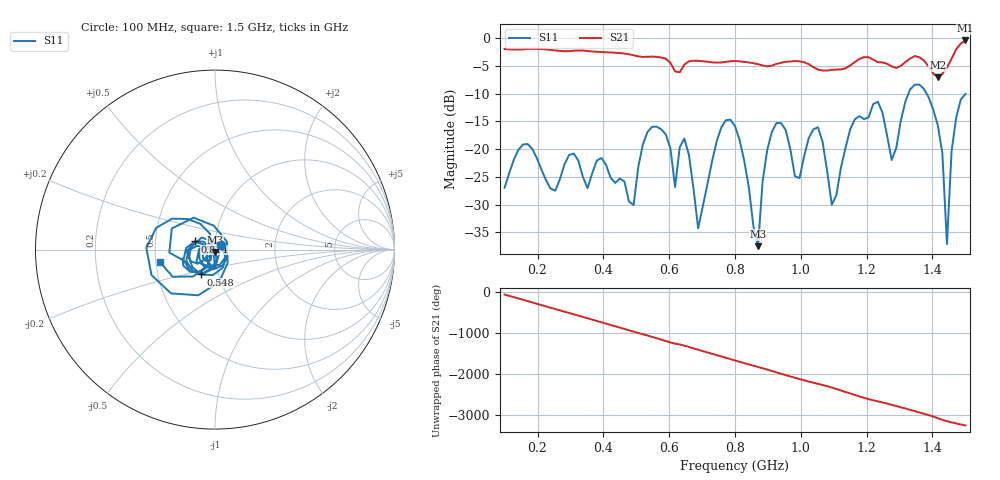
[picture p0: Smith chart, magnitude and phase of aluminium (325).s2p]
! NanoVNA-App
! Date: 2025-09-25 14:57:48
! Start: 100MHz Stop: 1,5GHz Points: 101
! S-Parameter data: F S11 S21 S12 S22
# Hz S RI R 50
!  Frequency  S11_Real  S11_Imag  S21_Real  S21_Imag  S12_Real  S12_Imag  S22_Real  S22_Imag
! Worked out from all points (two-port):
!   101 points, 100 MHz to 1.5 GHz, reference 50 ohm
!   highest |S21| = -0.38 dB at 1.5 GHz (marker M1); lowest = -7.0 dB at 1.416 GHz (marker M2)
!   |S21| within 3 dB of the highest: start of sweep to 567.6 MHz; 1.461 GHz to end of sweep (the widest 2 of 3)
!   lowest |S11| = -37.5 dB at 870 MHz (marker M3), VSWR 1.03, Z = 49.9 - j1.33 ohm
!   |S11| at or under -10 dB: start of sweep to 1.327 GHz; 1.382 GHz to end of sweep
!   S12 and S22 are empty: the file has one direction only
!   S11 on the Smith chart (normalised r, x): 100 MHz: 1.07, +0.06; 548 MHz: 0.82, -0.23; 814 MHz: 0.80, +0.07; 1.5 GHz: 0.53, -0.08
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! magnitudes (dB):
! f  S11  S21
! 100 MHz  -27.0  -1.9
! 338 MHz  -25.0  -2.2
! 492 MHz  -30.1  -3.1
! 548 MHz  -16.0  -3.3
! 576 MHz  -16.4  -3.5
! 618 MHz  -26.9  -6.0
! 646 MHz  -18.1  -4.8
! 688 MHz  -34.3  -4.1
! 800 MHz  -15.8  -4.1
! 814 MHz  -18.3  -4.2
! 870 MHz  -37.5  -4.7
! 912 MHz  -16.9  -4.9
! 996 MHz  -25.2  -4.2
! 1.038 GHz  -16.4  -5.2
! 1.094 GHz  -30.0  -5.7
! 1.22 GHz  -11.9  -3.8
! 1.276 GHz  -22.0  -5.1
! 1.346 GHz  -8.4  -3.2
! 1.416 GHz  -15.6  -7.0
! 1.444 GHz  -37.1  -5.3
! 1.458 GHz  -20.4  -3.7
! 1.5 GHz  -10.0  -0.4
